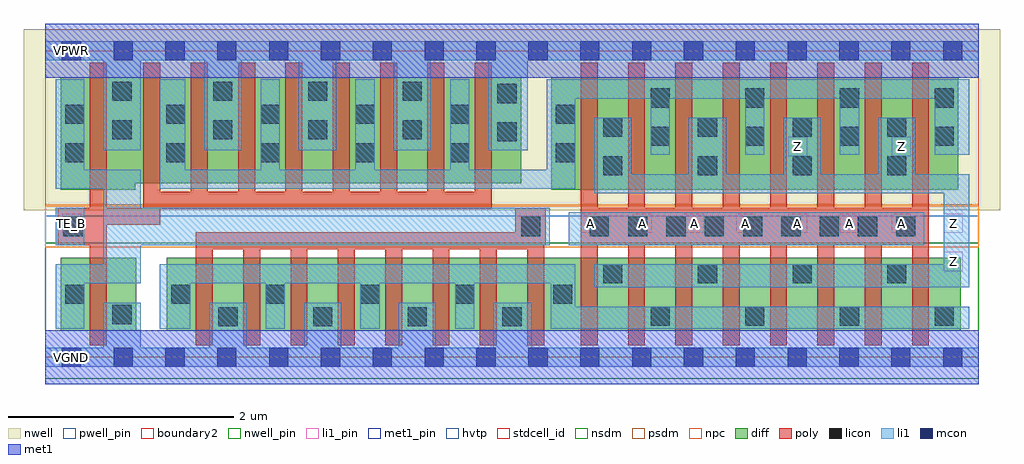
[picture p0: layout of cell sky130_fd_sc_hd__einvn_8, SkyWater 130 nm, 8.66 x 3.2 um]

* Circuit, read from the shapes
.subckt sky130_fd_sc_hd__einvn_8 A TE_B VGND VNB VPB VPWR Z
XM1 VGND TE_B n1 VNB sky130_fd_pr__nfet_01v8 w=0.65 l=0.15
XM2 VGND n1 n2 VNB sky130_fd_pr__nfet_01v8 w=0.65 l=0.15 m=8
XM3 Z A n2 VNB sky130_fd_pr__nfet_01v8 w=0.65 l=0.15 m=8
XM4 VPWR TE_B n1 VPB sky130_fd_pr__pfet_01v8_hvt w=1 l=0.15
XM5 n3 TE_B VPWR VPB sky130_fd_pr__pfet_01v8_hvt w=0.94 l=0.15 m=8
XM6 Z A n3 VPB sky130_fd_pr__pfet_01v8_hvt w=1 l=0.15 m=8
.ends

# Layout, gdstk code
import gdstk
lib = gdstk.Library(unit=1e-6, precision=1e-09)
def R(c, l, rs):  # rectangles x0, y0, x1, y1
    for r in rs: c.add(gdstk.rectangle(r[:2], r[2:], *l))
def A(c, l, x, y, w, h, nx, ny, dx, dy):  # array of equal rectangles
    R(c, l, [(x+i*dx, y+j*dy, x+i*dx+w, y+j*dy+h) for i in range(nx) for j in range(ny)])
def P(c, l, *ps):  # polygons
    for p in ps: c.add(gdstk.Polygon(p, *l))
nwell_pin = (64, 16)
nwell = (64, 20)
diff = (65, 20)
poly = (66, 20)
licon = (66, 44)
li1_pin = (67, 16)
li1 = (67, 20)
mcon = (67, 44)
met1_pin = (68, 16)
met1 = (68, 20)
hvtp = (78, 44)
stdcell_id = (81, 4)
nsdm = (93, 44)
psdm = (94, 20)
npc = (95, 20)
pwell_pin = (122, 16)
boundary2 = (236, 0)

sky130_fd_sc_hd__einvn_8 = lib.new_cell('sky130_fd_sc_hd__einvn_8')
R(sky130_fd_sc_hd__einvn_8, nwell_pin, [(0.15,2.635,0.32,2.805)])
R(sky130_fd_sc_hd__einvn_8, nwell, [(-0.19,1.305,8.47,2.91)])
R(sky130_fd_sc_hd__einvn_8, diff, [(0.135,0.235,0.805,0.885), (1.075,0.235,8.12,0.885), (4.49,1.485,8.1,2.485)])
P(sky130_fd_sc_hd__einvn_8, diff, [(4.22,2.485),(0.135,2.485),(0.135,1.485),(0.795,1.485),(0.795,1.545),(4.22,1.545)])
P(sky130_fd_sc_hd__einvn_8, poly, [(3.96,2.615),(3.81,2.615),(3.81,1.47),(3.54,1.47),(3.54,2.615),(3.39,2.615),(3.39,1.47),(3.12,1.47),(3.12,2.615),(2.97,2.615),(2.97,1.47),(2.7,1.47),(2.7,2.615),(2.55,2.615),(2.55,1.47),(2.28,1.47),(2.28,2.615),(2.13,2.615),(2.13,1.47),(1.86,1.47),(1.86,2.615),(1.71,2.615),(1.71,1.47),(1.44,1.47),(1.44,2.615),(1.29,2.615),(1.29,1.47),(1.02,1.47),(1.02,2.615),(0.87,2.615),(0.87,1.325),(0.545,1.325),(0.545,2.615),(0.395,2.615),(0.395,1.325),(0.11,1.325),(0.11,0.995),(0.395,0.995),(0.395,0.105),(0.545,0.105),(0.545,1.175),(1.02,1.175),(1.02,1.32),(3.96,1.32)],
  [(4.44,1.325),(4.17,1.325),(4.17,1.11),(1.335,1.11),(1.335,0.105),(1.485,0.105),(1.485,0.96),(1.755,0.96),(1.755,0.105),(1.905,0.105),(1.905,0.96),(2.175,0.96),(2.175,0.105),(2.325,0.105),(2.325,0.96),(2.595,0.96),(2.595,0.105),(2.745,0.105),(2.745,0.96),(3.015,0.96),(3.015,0.105),(3.165,0.105),(3.165,0.96),(3.435,0.96),(3.435,0.105),(3.585,0.105),(3.585,0.96),(3.855,0.96),(3.855,0.105),(4.005,0.105),(4.005,0.96),(4.275,0.96),(4.275,0.105),(4.425,0.105),(4.425,0.995),(4.44,0.995)],
  [(7.84,2.615),(7.69,2.615),(7.69,1.325),(7.42,1.325),(7.42,2.615),(7.27,2.615),(7.27,1.325),(7,1.325),(7,2.615),(6.85,2.615),(6.85,1.325),(6.58,1.325),(6.58,2.615),(6.43,2.615),(6.43,1.325),(6.16,1.325),(6.16,2.615),(6.01,2.615),(6.01,1.325),(5.74,1.325),(5.74,2.615),(5.59,2.615),(5.59,1.325),(5.32,1.325),(5.32,2.615),(5.17,2.615),(5.17,1.325),(4.9,1.325),(4.9,2.615),(4.75,2.615),(4.75,0.105),(4.9,0.105),(4.9,0.995),(5.17,0.995),(5.17,0.105),(5.32,0.105),(5.32,0.995),(5.59,0.995),(5.59,0.105),(5.74,0.105),(5.74,0.995),(6.01,0.995),(6.01,0.105),(6.16,0.105),(6.16,0.995),(6.43,0.995),(6.43,0.105),(6.58,0.105),(6.58,0.995),(6.85,0.995),(6.85,0.105),(7,0.105),(7,0.995),(7.27,0.995),(7.27,0.105),(7.42,0.105),(7.42,0.995),(7.69,0.995),(7.69,0.105),(7.84,0.105)])
A(sky130_fd_sc_hd__einvn_8, licon, 1.535, 0.275, 0.17, 0.17, 4, 1, 0.84, 0)
A(sky130_fd_sc_hd__einvn_8, licon, 5.37, 0.28, 0.17, 0.17, 4, 2, 0.84, 1.595)
A(sky130_fd_sc_hd__einvn_8, licon, 1.115, 0.475, 0.17, 0.17, 4, 1, 0.84, 0)
A(sky130_fd_sc_hd__einvn_8, licon, 4.95, 0.655, 0.17, 0.17, 4, 2, 0.84, 0.96)
A(sky130_fd_sc_hd__einvn_8, licon, 4.83, 1.075, 0.17, 0.17, 9, 1, 0.34, 0)
A(sky130_fd_sc_hd__einvn_8, licon, 1.07, 1.73, 0.17, 0.17, 4, 2, 0.84, 0.34)
A(sky130_fd_sc_hd__einvn_8, licon, 1.49, 1.935, 0.17, 0.17, 3, 2, 0.84, 0.34)
A(sky130_fd_sc_hd__einvn_8, licon, 4.95, 1.955, 0.17, 0.17, 4, 1, 0.84, 0)
A(sky130_fd_sc_hd__einvn_8, licon, 5.37, 2.215, 0.17, 0.17, 4, 1, 0.84, 0)
R(sky130_fd_sc_hd__einvn_8, licon, [(0.595,0.295,0.765,0.465), (0.175,0.475,0.345,0.645), (4.505,0.475,4.675,0.645), (0.16,1.075,0.33,1.245), (4.22,1.075,4.39,1.245), (0.175,1.73,0.345,1.9), (4.53,1.73,4.7,1.9), (4.01,1.915,4.18,2.085), (0.595,1.935,0.765,2.105), (0.175,2.07,0.345,2.24), (4.53,2.07,4.7,2.24), (4.01,2.255,4.18,2.425), (0.595,2.275,0.765,2.445)])
A(sky130_fd_sc_hd__einvn_8, li1_pin, 4.75, 1.105, 0.17, 0.17, 8, 1, 0.46, 0)
R(sky130_fd_sc_hd__einvn_8, li1_pin, [(7.97,0.765,8.14,0.935), (0.15,1.105,0.32,1.275), (6.59,1.785,6.76,1.955), (7.51,1.785,7.68,1.955)])
R(sky130_fd_sc_hd__einvn_8, li1, [(0.09,0.995,0.345,1.325), (4.645,0.995,7.8,1.285)])
P(sky130_fd_sc_hd__einvn_8, li1, [(4.475,1.325),(0.845,1.325),(0.845,1.665),(0.345,1.665),(0.345,2.465),(0.09,2.465),(0.09,1.495),(0.515,1.495),(0.515,0.825),(0.09,0.825),(0.09,0.255),(0.345,0.255),(0.345,0.655),(0.845,0.655),(0.845,0.995),(4.475,0.995)],
  [(8.195,2.465),(4.45,2.465),(4.45,1.665),(3.76,1.665),(3.76,2.465),(3.59,2.465),(3.59,1.665),(2.92,1.665),(2.92,2.465),(2.75,2.465),(2.75,1.665),(2.08,1.665),(2.08,2.465),(1.91,2.465),(1.91,1.665),(1.24,1.665),(1.24,2.465),(1.015,2.465),(1.015,1.495),(4.7,1.495),(4.7,2.295),(5.37,2.295),(5.37,1.795),(5.54,1.795),(5.54,2.295),(6.21,2.295),(6.21,1.795),(6.38,1.795),(6.38,2.295),(7.05,2.295),(7.05,1.795),(7.22,1.795),(7.22,2.295),(7.89,2.295),(7.89,1.795),(8.195,1.795)],
  [(8.195,1.625),(7.72,1.625),(7.72,2.125),(7.39,2.125),(7.39,1.625),(6.88,1.625),(6.88,2.125),(6.55,2.125),(6.55,1.625),(6.04,1.625),(6.04,2.125),(5.71,2.125),(5.71,1.625),(5.2,1.625),(5.2,2.125),(4.87,2.125),(4.87,1.455),(7.97,1.455),(7.97,0.825),(4.87,0.825),(4.87,0.62),(8.195,0.62)],
  [(8.28,2.805),(0,2.805),(0,2.635),(0.515,2.635),(0.515,1.835),(0.845,1.835),(0.845,2.635),(1.41,2.635),(1.41,1.835),(1.74,1.835),(1.74,2.635),(2.25,2.635),(2.25,1.835),(2.58,1.835),(2.58,2.635),(3.09,2.635),(3.09,1.835),(3.42,1.835),(3.42,2.635),(3.93,2.635),(3.93,1.835),(4.28,1.835),(4.28,2.635),(8.28,2.635)],
  [(8.195,0.45),(4.7,0.45),(4.7,0.825),(1.015,0.825),(1.015,0.255),(1.285,0.255),(1.285,0.655),(1.955,0.655),(1.955,0.255),(2.125,0.255),(2.125,0.655),(2.795,0.655),(2.795,0.255),(2.965,0.255),(2.965,0.655),(3.635,0.655),(3.635,0.255),(3.805,0.255),(3.805,0.655),(4.485,0.655),(4.485,0.255),(8.195,0.255)],
  [(8.28,0.085),(4.315,0.085),(4.315,0.485),(3.975,0.485),(3.975,0.085),(3.465,0.085),(3.465,0.485),(3.135,0.485),(3.135,0.085),(2.625,0.085),(2.625,0.485),(2.295,0.485),(2.295,0.085),(1.785,0.085),(1.785,0.485),(1.455,0.485),(1.455,0.085),(0.845,0.085),(0.845,0.485),(0.515,0.485),(0.515,0.085),(0,0.085),(0,-0.085),(8.28,-0.085)])
A(sky130_fd_sc_hd__einvn_8, mcon, 0.145, -0.085, 0.17, 0.17, 18, 2, 0.46, 2.72)
R(sky130_fd_sc_hd__einvn_8, met1_pin, [(0.15,-0.085,0.32,0.085), (0.15,2.635,0.32,2.805)])
R(sky130_fd_sc_hd__einvn_8, hvtp, [(0,1.25,8.28,2.72)])
R(sky130_fd_sc_hd__einvn_8, stdcell_id, [(0,0,8.28,2.72)])
R(sky130_fd_sc_hd__einvn_8, nsdm, [(0,-0.19,8.28,1.015)])
R(sky130_fd_sc_hd__einvn_8, psdm, [(0,1.355,8.28,2.91)])
R(sky130_fd_sc_hd__einvn_8, npc, [(0,0.975,8.28,1.345)])
R(sky130_fd_sc_hd__einvn_8, pwell_pin, [(0.15,-0.085,0.32,0.085)])
R(sky130_fd_sc_hd__einvn_8, boundary2, [(0,0,8.28,2.72)])
sky130_fd_sc_hd__einvn_8.add(gdstk.FlexPath([(0,2.72),(8.28,2.72)], 0.48, ends="flush", simple_path=True, layer=68, datatype=20))  # met1
sky130_fd_sc_hd__einvn_8.add(gdstk.FlexPath([(0,0),(8.28,0)], 0.48, ends="flush", simple_path=True, layer=68, datatype=20))  # met1
sky130_fd_sc_hd__einvn_8.add(gdstk.Label('A', (6.675,1.19), layer=67, texttype=5))
sky130_fd_sc_hd__einvn_8.add(gdstk.Label('TE_B', (0.235,1.19), layer=67, texttype=5))
sky130_fd_sc_hd__einvn_8.add(gdstk.Label('A', (7.135,1.19), layer=67, texttype=5))
sky130_fd_sc_hd__einvn_8.add(gdstk.Label('A', (7.595,1.19), layer=67, texttype=5))
sky130_fd_sc_hd__einvn_8.add(gdstk.Label('Z', (6.675,1.87), layer=67, texttype=5))
sky130_fd_sc_hd__einvn_8.add(gdstk.Label('Z', (7.595,1.87), layer=67, texttype=5))
sky130_fd_sc_hd__einvn_8.add(gdstk.Label('Z', (8.055,0.85), layer=67, texttype=5))
sky130_fd_sc_hd__einvn_8.add(gdstk.Label('Z', (8.055,1.19), layer=67, texttype=5))
sky130_fd_sc_hd__einvn_8.add(gdstk.Label('A', (4.835,1.19), layer=67, texttype=5))
sky130_fd_sc_hd__einvn_8.add(gdstk.Label('A', (5.295,1.19), layer=67, texttype=5))
sky130_fd_sc_hd__einvn_8.add(gdstk.Label('A', (5.755,1.19), layer=67, texttype=5))
sky130_fd_sc_hd__einvn_8.add(gdstk.Label('A', (6.215,1.19), layer=67, texttype=5))
sky130_fd_sc_hd__einvn_8.add(gdstk.Label('VGND', (0.23,0), layer=68, texttype=5))
sky130_fd_sc_hd__einvn_8.add(gdstk.Label('VPWR', (0.23,2.72), layer=68, texttype=5))
sky130_fd_sc_hd__einvn_8.add(gdstk.Label('VPB', (0.235,2.72), layer=64, texttype=5))
sky130_fd_sc_hd__einvn_8.add(gdstk.Label('VNB', (0.235,0), layer=64, texttype=59))
sky130_fd_sc_hd__einvn_8.add(gdstk.Label('einvn_8', (0,0), layer=83, texttype=44))

lib.write_gds('sky130_fd_sc_hd__einvn_8.gds')
